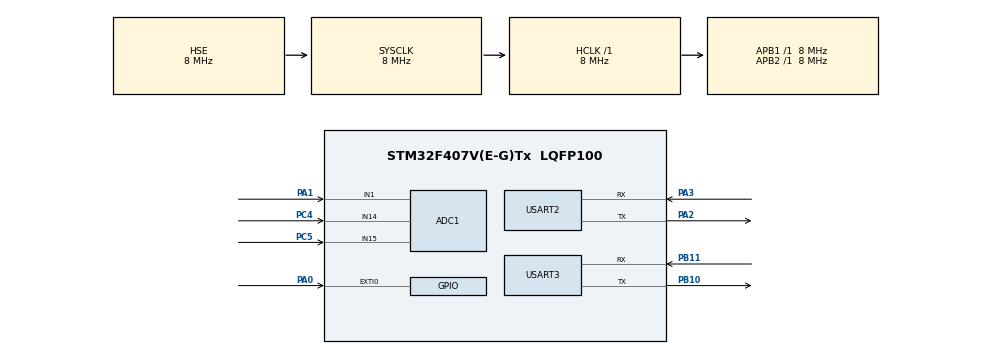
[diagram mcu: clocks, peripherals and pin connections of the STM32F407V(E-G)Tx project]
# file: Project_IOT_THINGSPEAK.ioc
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ADC1.Channel-0\#ChannelRegularConversion=ADC_CHANNEL_1
ADC1.Channel-1\#ChannelRegularConversion=ADC_CHANNEL_14
ADC1.Channel-2\#ChannelRegularConversion=ADC_CHANNEL_15
ADC1.ClockPrescaler=ADC_CLOCK_SYNC_PCLK_DIV8
ADC1.DMAContinuousRequests=ENABLE
ADC1.DiscontinuousConvMode=ENABLE
ADC1.EOCSelection=ADC_EOC_SINGLE_CONV
ADC1.ExternalTrigConv=ADC_EXTERNALTRIGCONV_T2_TRGO
ADC1.InjNumberOfConversion=0
ADC1.NbrOfConversion=3
ADC1.NbrOfConversionFlag=1
ADC1.NbrOfDiscConversion=3
ADC1.Rank-0\#ChannelRegularConversion=1
ADC1.Rank-1\#ChannelRegularConversion=2
ADC1.Rank-2\#ChannelRegularConversion=3
ADC1.SamplingTime-0\#ChannelRegularConversion=ADC_SAMPLETIME_3CYCLES
ADC1.SamplingTime-1\#ChannelRegularConversion=ADC_SAMPLETIME_3CYCLES
ADC1.SamplingTime-2\#ChannelRegularConversion=ADC_SAMPLETIME_3CYCLES
ADC1.ScanConvMode=ENABLE
ADC1.master=1
Dma.ADC1.0.Direction=DMA_PERIPH_TO_MEMORY
Dma.ADC1.0.FIFOMode=DMA_FIFOMODE_DISABLE
Dma.ADC1.0.Instance=DMA2_Stream0
Dma.ADC1.0.MemDataAlignment=DMA_MDATAALIGN_HALFWORD
Dma.ADC1.0.MemInc=DMA_MINC_ENABLE
Dma.ADC1.0.Mode=DMA_CIRCULAR
Dma.ADC1.0.PeriphDataAlignment=DMA_PDATAALIGN_HALFWORD
Dma.ADC1.0.PeriphInc=DMA_PINC_DISABLE
Dma.ADC1.0.Priority=DMA_PRIORITY_LOW
Dma.Request0=ADC1
Mcu.Family=STM32F4
Mcu.Name=STM32F407V(E-G)Tx
Mcu.Package=LQFP100
NVIC.DMA2_Stream0_IRQn=true\:1\:0\:true\:false\:true\:false\:true\:true
NVIC.EXTI0_IRQn=true\:2\:0\:true\:false\:true\:true\:true\:true
NVIC.PriorityGroup=NVIC_PRIORITYGROUP_4
NVIC.USART2_IRQn=true\:0\:0\:false\:false\:true\:true\:true\:true
PA0-WKUP.Signal=GPXTI0
PA1.Signal=ADCx_IN1
PA2.Mode=Asynchronous
PA2.Signal=USART2_TX
PA3.Mode=Asynchronous
PA3.Signal=USART2_RX
PB10.Mode=Asynchronous
PB10.Signal=USART3_TX
PB11.Mode=Asynchronous
PB11.Signal=USART3_RX
PC4.Signal=ADCx_IN14
PC5.Signal=ADCx_IN15
PH0-OSC_IN.Mode=HSE-External-Oscillator
PH0-OSC_IN.Signal=RCC_OSC_IN
PH1-OSC_OUT.Mode=HSE-External-Oscillator
PH1-OSC_OUT.Signal=RCC_OSC_OUT
ProjectManager.HeapSize=0x200
ProjectManager.StackSize=0x400
ProjectManager.TargetToolchain=MDK-ARM V5.32
RCC.AHBFreq_Value=8000000
RCC.APB1Freq_Value=8000000
RCC.APB1TimFreq_Value=8000000
RCC.APB2Freq_Value=8000000
RCC.APB2TimFreq_Value=8000000
RCC.CortexFreq_Value=8000000
RCC.HCLKFreq_Value=8000000
RCC.HSE_VALUE=8000000
RCC.HSI_VALUE=16000000
RCC.LSE_VALUE=32768
RCC.SYSCLKFreq_VALUE=8000000
RCC.SYSCLKSource=RCC_SYSCLKSOURCE_HSE
RCC.VCOOutputFreq_Value=192000000
SH.ADCx_IN1.0=ADC1_IN1,IN1
SH.ADCx_IN14.0=ADC1_IN14,IN14
SH.ADCx_IN15.0=ADC1_IN15,IN15
TIM2.Period=29999
TIM2.Prescaler=7999
TIM2.TIM_MasterOutputTrigger=TIM_TRGO_UPDATE
USART2.VirtualMode=VM_ASYNC
USART3.VirtualMode=VM_ASYNC
VP_TIM2_VS_ClockSourceINT.Mode=Internal
board=custom

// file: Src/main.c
/* USER CODE BEGIN Header */
/**
  ******************************************************************************
  * @file           : main.c
  * @brief          : Main program body
  ******************************************************************************
  * @attention
  *
  * Copyright (c) 2025 STMicroelectronics.
  * All rights reserved.
  *
  * This software is licensed under terms that can be found in the LICENSE file
  * in the root directory of this software component.
  * If no LICENSE file comes with this software, it is provided AS-IS.
  *
  ******************************************************************************
  */
/* USER CODE END Header */
#include "main.h"
#include "string.h"
#include <stdio.h>

/* USER CODE BEGIN PM */

#define ESP_UART &huart2
#define HTERM &huart3
#define WIFI_SSID "Ooredoo-FEED82"
#define WIFI_PASS "dgn82q92@627"
#define APIKey "FBL0FF3DYH93PY0X"

/* USER CODE END PM */

ADC_HandleTypeDef hadc1;
DMA_HandleTypeDef hdma_adc1;

TIM_HandleTypeDef htim2;

UART_HandleTypeDef huart2;
UART_HandleTypeDef huart3;

/* USER CODE BEGIN PV */

char Buffer_rec[3000];
char cmd_buffer[100];
char THINGSPEAK_REQUEST[100];

uint16_t ADC_Value[3];
int systemState=0;
int BOOL1=0;

const char Cloud_BEGIN[]="STARTING_TRANSMIT_DATA_TO_THINGSPEAK\r\n";

// ===== AT Commands =====
const char cmd_at_test[] = "AT\r\n";            // Test AT startup (check communication)
const char cmd_at_rst[] = "AT+RST\r\n";         // Restart the module
const char cmd_cwmode_1[] = "AT+CWMODE=1\r\n"; // Set as Station (client) mode
const char cmd_cifsr[] = "AT+CIFSR\r\n";       // Get local IP address

/* USER CODE END PV */

void SystemClock_Config(void);
static void MX_GPIO_Init(void);
static void MX_DMA_Init(void);
static void MX_ADC1_Init(void);
static void MX_TIM2_Init(void);
static void MX_USART2_UART_Init(void);
static void MX_USART3_UART_Init(void);
/* USER CODE BEGIN PFP */
void ESP_Init_Station_Client(void);
void ClearBuffer(char *buffer, int size);
void Transmission_Cloud_THINGSPEAK(void);
/* USER CODE END PFP */

/* USER CODE BEGIN 0 */

void ClearBuffer(char *buffer, int size)
{
    for (int j = 0; j < size; j++) {

			buffer[j] = '\0';
    }
}

void ESP_Init_Station_Client(void) {

    // 1. Basic AT test (check communication)
    HAL_UART_Transmit(ESP_UART, (uint8_t*)cmd_at_test, strlen(cmd_at_test), HAL_MAX_DELAY);
    HAL_Delay(1000);

    // 2. Module reset
    HAL_UART_Transmit(ESP_UART, (uint8_t*)cmd_at_rst, strlen(cmd_at_rst), HAL_MAX_DELAY);
    HAL_Delay(10000);

    // 3. Set Station mode
    HAL_UART_Transmit(ESP_UART, (uint8_t*)cmd_cwmode_1, strlen(cmd_cwmode_1), HAL_MAX_DELAY);
    HAL_Delay(1000);

    // 4. Connect to WiFi (formatted command)
    sprintf(cmd_buffer, "AT+CWJAP=\"%s\",\"%s\"\r\n", WIFI_SSID, WIFI_PASS);
    HAL_UART_Transmit(ESP_UART, (uint8_t*)cmd_buffer, strlen(cmd_buffer), HAL_MAX_DELAY);
    HAL_Delay(10000);  // Extended delay for WiFi connection
		ClearBuffer(cmd_buffer, sizeof(cmd_buffer));

		// 5. Get IP address
    HAL_UART_Transmit(ESP_UART, (uint8_t*)cmd_cifsr, strlen(cmd_cifsr), HAL_MAX_DELAY);
    HAL_Delay(2000);

}

void Transmission_Cloud_THINGSPEAK(void)
{
		HAL_UART_Transmit(HTERM,(uint8_t *)&Cloud_BEGIN[0],strlen(Cloud_BEGIN),HAL_MAX_DELAY);

		//AT+CIPSTART
		sprintf(cmd_buffer,"AT+CIPSTART=\"TCP\",\"184.106.153.149\",80\r\n");
		HAL_UART_Transmit(ESP_UART,(uint8_t *)&cmd_buffer[0],strlen(cmd_buffer),HAL_MAX_DELAY);
		HAL_Delay(1000);
		ClearBuffer(cmd_buffer, sizeof(cmd_buffer));

		sprintf(THINGSPEAK_REQUEST,"GET https://api.thingspeak.com/update?api_key=%s&field1=%hu&field2=%hu&field3=%hu\r\n",APIKey,ADC_Value[0],ADC_Value[1],ADC_Value[2]);
		sprintf(cmd_buffer,"AT+CIPSEND=%d\r\n",strlen(THINGSPEAK_REQUEST));

		//AT+CIPSEND
		HAL_UART_Transmit(ESP_UART,(uint8_t *)&cmd_buffer[0],strlen(cmd_buffer),HAL_MAX_DELAY);
		HAL_Delay(1000);
		HAL_UART_Transmit(ESP_UART,(uint8_t *)&THINGSPEAK_REQUEST[0],strlen(THINGSPEAK_REQUEST),HAL_MAX_DELAY);
		ClearBuffer(THINGSPEAK_REQUEST, sizeof(THINGSPEAK_REQUEST));
}

/* USER CODE END 0 */

int main(void)
{

  /* MCU Configuration--------------------------------------------------------*/

  /* Reset of all peripherals, Initializes the Flash interface and the Systick. */
  HAL_Init();

  /* Configure the system clock */
  SystemClock_Config();

  /* Initialize all configured peripherals */
  MX_GPIO_Init();
  MX_DMA_Init();
  MX_ADC1_Init();
  MX_TIM2_Init();
  MX_USART2_UART_Init();
  MX_USART3_UART_Init();
  /* USER CODE BEGIN 2 */
	HAL_ADC_Start_DMA(&hadc1,(uint32_t*)&ADC_Value[0],3);
	HAL_UARTEx_ReceiveToIdle_IT(ESP_UART,(uint8_t *)&Buffer_rec[0],3000);
	ESP_Init_Station_Client();
  /* USER CODE END 2 */

  /* Infinite loop */
  while (1)
  {
		if(BOOL1==1)
		{
			Transmission_Cloud_THINGSPEAK();
			BOOL1=0;
		}
  }
}

void HAL_GPIO_EXTI_Callback(uint16_t GPIO_Pin)
{
	if (GPIO_Pin == GPIO_PIN_0)
	 {
		systemState++;
		if (systemState == 1)
		{
			const char *msg = "\nSYSTEM BEGIN\r\n";
			HAL_UART_Transmit(HTERM, (uint8_t *)msg, strlen(msg), HAL_MAX_DELAY);
			HAL_TIM_Base_Start(&htim2);
		}
		if (systemState == 2)
		{
			const char *msg = "\nSYSTEM STOP\r\n";
      HAL_UART_Transmit(HTERM, (uint8_t *)msg, strlen(msg), HAL_MAX_DELAY);
      HAL_TIM_Base_Stop(&htim2);
      __HAL_TIM_SET_COUNTER(&htim2, 0);
			systemState=0;
		}
	}
}

void HAL_UARTEx_RxEventCallback(UART_HandleTypeDef *huart, uint16_t Size)
{
	if(huart->Instance == USART2)
	{
		HAL_UART_Transmit(HTERM,(uint8_t *)&Buffer_rec[0],Size,HAL_MAX_DELAY);
		ClearBuffer(Buffer_rec, sizeof(Buffer_rec));
		HAL_UARTEx_ReceiveToIdle_IT(ESP_UART,(uint8_t *)&Buffer_rec[0],3000);
	}
}

void HAL_ADC_ConvCpltCallback(ADC_HandleTypeDef *hadc)
{
	if(hadc->Instance == ADC1)
	{
		BOOL1=1;
	}
}

void SystemClock_Config(void)
{
  RCC_OscInitTypeDef RCC_OscInitStruct = {0};
  RCC_ClkInitTypeDef RCC_ClkInitStruct = {0};

  /** Configure the main internal regulator output voltage
  */
  __HAL_RCC_PWR_CLK_ENABLE();
  __HAL_PWR_VOLTAGESCALING_CONFIG(PWR_REGULATOR_VOLTAGE_SCALE1);

  /** Initializes the RCC Oscillators according to the specified parameters
  * in the RCC_OscInitTypeDef structure.
  */
  RCC_OscInitStruct.OscillatorType = RCC_OSCILLATORTYPE_HSE;
  RCC_OscInitStruct.HSEState = RCC_HSE_ON;
  RCC_OscInitStruct.PLL.PLLState = RCC_PLL_NONE;
  if (HAL_RCC_OscConfig(&RCC_OscInitStruct) != HAL_OK)
  {
    Error_Handler();
  }

  /** Initializes the CPU, AHB and APB buses clocks
  */
  RCC_ClkInitStruct.ClockType = RCC_CLOCKTYPE_HCLK|RCC_CLOCKTYPE_SYSCLK
                              |RCC_CLOCKTYPE_PCLK1|RCC_CLOCKTYPE_PCLK2;
  RCC_ClkInitStruct.SYSCLKSource = RCC_SYSCLKSOURCE_HSE;
  RCC_ClkInitStruct.AHBCLKDivider = RCC_SYSCLK_DIV1;
  RCC_ClkInitStruct.APB1CLKDivider = RCC_HCLK_DIV1;
  RCC_ClkInitStruct.APB2CLKDivider = RCC_HCLK_DIV1;

  if (HAL_RCC_ClockConfig(&RCC_ClkInitStruct, FLASH_LATENCY_0) != HAL_OK)
  {
    Error_Handler();
  }
}

static void MX_ADC1_Init(void)
{

  ADC_ChannelConfTypeDef sConfig = {0};

  /** Configure the global features of the ADC (Clock, Resolution, Data Alignment and number of conversion)
  */
  hadc1.Instance = ADC1;
  hadc1.Init.ClockPrescaler = ADC_CLOCK_SYNC_PCLK_DIV8;
  hadc1.Init.Resolution = ADC_RESOLUTION_12B;
  hadc1.Init.ScanConvMode = ENABLE;
  hadc1.Init.ContinuousConvMode = DISABLE;
  hadc1.Init.DiscontinuousConvMode = ENABLE;
  hadc1.Init.NbrOfDiscConversion = 3;
  hadc1.Init.ExternalTrigConvEdge = ADC_EXTERNALTRIGCONVEDGE_RISING;
  hadc1.Init.ExternalTrigConv = ADC_EXTERNALTRIGCONV_T2_TRGO;
  hadc1.Init.DataAlign = ADC_DATAALIGN_RIGHT;
  hadc1.Init.NbrOfConversion = 3;
  hadc1.Init.DMAContinuousRequests = ENABLE;
  hadc1.Init.EOCSelection = ADC_EOC_SINGLE_CONV;
  if (HAL_ADC_Init(&hadc1) != HAL_OK)
  {
    Error_Handler();
  }

  /** Configure for the selected ADC regular channel its corresponding rank in the sequencer and its sample time.
  */
  sConfig.Channel = ADC_CHANNEL_1;
  sConfig.Rank = 1;
  sConfig.SamplingTime = ADC_SAMPLETIME_3CYCLES;
  if (HAL_ADC_ConfigChannel(&hadc1, &sConfig) != HAL_OK)
  {
    Error_Handler();
  }

  /** Configure for the selected ADC regular channel its corresponding rank in the sequencer and its sample time.
  */
  sConfig.Channel = ADC_CHANNEL_14;
  sConfig.Rank = 2;
  if (HAL_ADC_ConfigChannel(&hadc1, &sConfig) != HAL_OK)
  {
    Error_Handler();
  }

  /** Configure for the selected ADC regular channel its corresponding rank in the sequencer and its sample time.
  */
  sConfig.Channel = ADC_CHANNEL_15;
  sConfig.Rank = 3;
  if (HAL_ADC_ConfigChannel(&hadc1, &sConfig) != HAL_OK)
  {
    Error_Handler();
  }

}

static void MX_TIM2_Init(void)
{

  TIM_ClockConfigTypeDef sClockSourceConfig = {0};
  TIM_MasterConfigTypeDef sMasterConfig = {0};

  htim2.Instance = TIM2;
  htim2.Init.Prescaler = 7999;
  htim2.Init.CounterMode = TIM_COUNTERMODE_UP;
  htim2.Init.Period = 29999;
  htim2.Init.ClockDivision = TIM_CLOCKDIVISION_DIV1;
  htim2.Init.AutoReloadPreload = TIM_AUTORELOAD_PRELOAD_DISABLE;
  if (HAL_TIM_Base_Init(&htim2) != HAL_OK)
  {
    Error_Handler();
  }
  sClockSourceConfig.ClockSource = TIM_CLOCKSOURCE_INTERNAL;
  if (HAL_TIM_ConfigClockSource(&htim2, &sClockSourceConfig) != HAL_OK)
  {
    Error_Handler();
  }
  sMasterConfig.MasterOutputTrigger = TIM_TRGO_UPDATE;
  sMasterConfig.MasterSlaveMode = TIM_MASTERSLAVEMODE_DISABLE;
  if (HAL_TIMEx_MasterConfigSynchronization(&htim2, &sMasterConfig) != HAL_OK)
  {
    Error_Handler();
  }

}

static void MX_USART2_UART_Init(void)
{

  huart2.Instance = USART2;
  huart2.Init.BaudRate = 115200;
  huart2.Init.WordLength = UART_WORDLENGTH_8B;
  huart2.Init.StopBits = UART_STOPBITS_1;
  huart2.Init.Parity = UART_PARITY_NONE;
  huart2.Init.Mode = UART_MODE_TX_RX;
  huart2.Init.HwFlowCtl = UART_HWCONTROL_NONE;
  huart2.Init.OverSampling = UART_OVERSAMPLING_16;
  if (HAL_UART_Init(&huart2) != HAL_OK)
  {
    Error_Handler();
  }

}

static void MX_USART3_UART_Init(void)
{

  huart3.Instance = USART3;
  huart3.Init.BaudRate = 115200;
  huart3.Init.WordLength = UART_WORDLENGTH_8B;
  huart3.Init.StopBits = UART_STOPBITS_1;
  huart3.Init.Parity = UART_PARITY_NONE;
  huart3.Init.Mode = UART_MODE_TX_RX;
  huart3.Init.HwFlowCtl = UART_HWCONTROL_NONE;
  huart3.Init.OverSampling = UART_OVERSAMPLING_16;
  if (HAL_UART_Init(&huart3) != HAL_OK)
  {
    Error_Handler();
  }

}

static void MX_DMA_Init(void)
{

  /* DMA controller clock enable */
  __HAL_RCC_DMA2_CLK_ENABLE();

  /* DMA interrupt init */
  /* DMA2_Stream0_IRQn interrupt configuration */
  HAL_NVIC_SetPriority(DMA2_Stream0_IRQn, 1, 0);
  HAL_NVIC_EnableIRQ(DMA2_Stream0_IRQn);

}

static void MX_GPIO_Init(void)
{
  GPIO_InitTypeDef GPIO_InitStruct = {0};

  /* GPIO Ports Clock Enable */
  __HAL_RCC_GPIOH_CLK_ENABLE();
  __HAL_RCC_GPIOA_CLK_ENABLE();
  __HAL_RCC_GPIOC_CLK_ENABLE();
  __HAL_RCC_GPIOB_CLK_ENABLE();

  /*Configure GPIO pin : PA0 */
  GPIO_InitStruct.Pin = GPIO_PIN_0;
  GPIO_InitStruct.Mode = GPIO_MODE_IT_RISING;
  GPIO_InitStruct.Pull = GPIO_NOPULL;
  HAL_GPIO_Init(GPIOA, &GPIO_InitStruct);

  /* EXTI interrupt init*/
  HAL_NVIC_SetPriority(EXTI0_IRQn, 2, 0);
  HAL_NVIC_EnableIRQ(EXTI0_IRQn);

}

void Error_Handler(void)
{
  __disable_irq();
  while (1)
  {
  }
}
